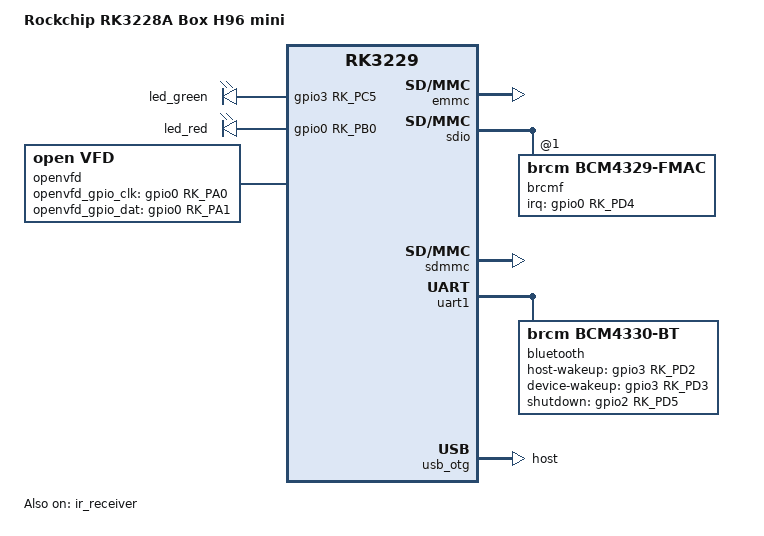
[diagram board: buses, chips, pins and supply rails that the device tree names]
// SPDX-License-Identifier: (GPL-2.0+ OR MIT)

/dts-v1/;
#include <dt-bindings/gpio/gpio.h>
#include <dt-bindings/pinctrl/rockchip.h>
#include "rk3228a-box.dtsi"

/ {
	compatible = "eledvb,h96mini", "rockchip,rk3228a-box", "rockchip,rk3229";
	model = "Rockchip RK3228A Box H96 mini";

	leds {
		compatible = "gpio-leds";

		led_green {
			gpios = <&gpio3 RK_PC5 GPIO_ACTIVE_HIGH>;
			default-state = "on";
		};

		led_red {
			gpios = <&gpio0 RK_PB0 GPIO_ACTIVE_HIGH>;
			default-state = "off";
		};
	};

	openvfd {
		compatible = "open,vfd";
		dev_name = "openvfd";
		openvfd_gpio_clk = <&gpio0 RK_PA0 GPIO_ACTIVE_HIGH>;
		openvfd_gpio_dat = <&gpio0 RK_PA1 GPIO_ACTIVE_HIGH>;
		openvfd_display_type = <0x06000100>;
		openvfd_dot_bits = [00 01 03 02 04 05 06];
	};

};

&emmc {
	mmc-hs200-1_8v;
	status = "okay";
};

&gmac {
	tx_delay = <0x26>;
	rx_delay = <0x11>;
};

&ir_receiver {
	status = "okay";
};

&pinctrl {
	wifi {
		wifi_host_wake_l: wifi-host-wake-l {
			rockchip,pins = <0 RK_PD4 RK_FUNC_GPIO &pcfg_pull_none>;
		};
	};

	bt {
		bt_host_wake_l: bt-host-wake-l {
			rockchip,pins = <3 RK_PD2 RK_FUNC_GPIO &pcfg_pull_none>;
		};

		bt_reg_on_h: bt-reg-on-h {
			rockchip,pins = <2 RK_PD5 RK_FUNC_GPIO &pcfg_pull_none>;
		};

		bt_wake_l: bt-wake-l {
			rockchip,pins = <3 RK_PD3 RK_FUNC_GPIO &pcfg_pull_none>;
		};
	};
};

&power_key {
	status = "okay";
};

&sdio {
	#address-cells = <1>;
	#size-cells = <0>;
	status = "okay";

	brcmf: wifi@1 {
		compatible = "brcm,bcm4329-fmac";
		reg = <1>;
		interrupt-parent = <&gpio0>;
		interrupts = <RK_PD4 GPIO_ACTIVE_HIGH>;
		interrupt-names = "host-wake";
		brcm,drive-strength = <5>;
		pinctrl-names = "default";
		pinctrl-0 = <&wifi_host_wake_l>;
	};
};

&sdmmc {
	disable-wp;
	status = "okay";
};

&uart1 {
	status = "okay";

	bluetooth {
		compatible = "brcm,bcm4330-bt";
		host-wakeup-gpios = <&gpio3 RK_PD2 GPIO_ACTIVE_HIGH>;
		device-wakeup-gpios = <&gpio3 RK_PD3 GPIO_ACTIVE_HIGH>;
		shutdown-gpios = <&gpio2 RK_PD5 GPIO_ACTIVE_HIGH>;
		max-speed = <4000000>;
		pinctrl-names = "default";
		pinctrl-0 = <&bt_reg_on_h &bt_host_wake_l &bt_wake_l>;
	};
};

&usb_otg {
        dr_mode = "host";
};
